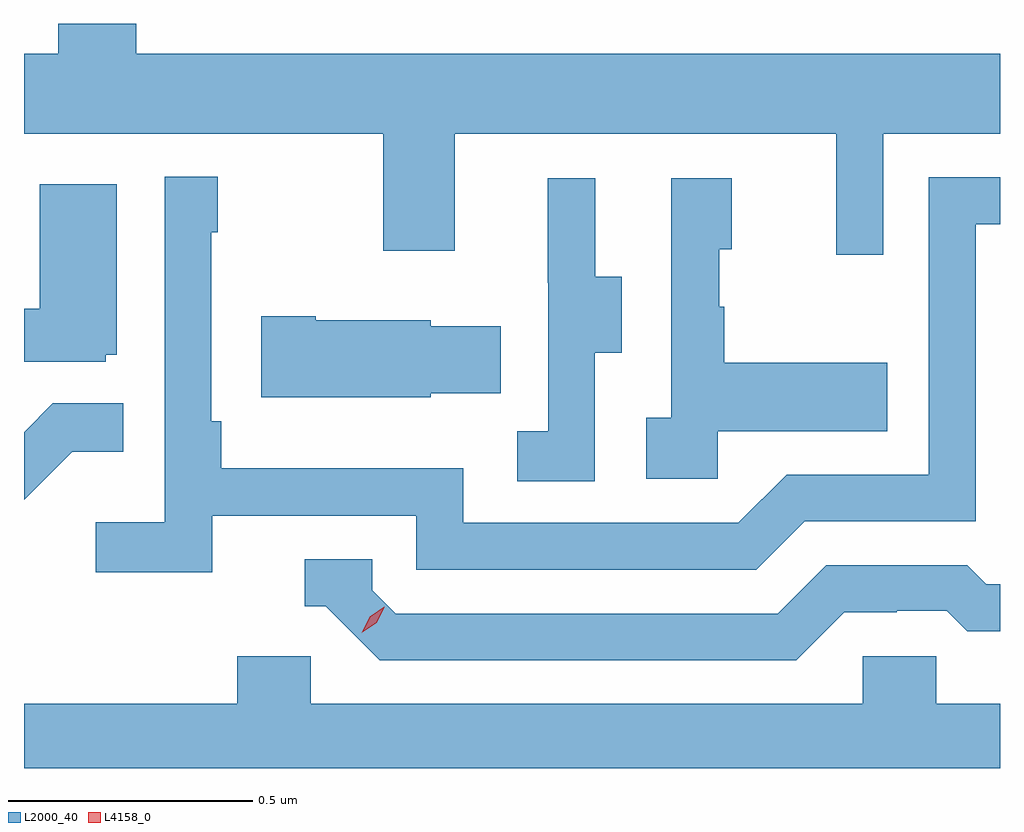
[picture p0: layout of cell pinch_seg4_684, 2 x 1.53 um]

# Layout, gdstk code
import gdstk
lib = gdstk.Library(unit=1e-6, precision=1e-09)
def P(c, l, *ps):  # polygons
    for p in ps: c.add(gdstk.Polygon(p, *l))
L2000_40 = (2000, 40)
L4158_0 = (4158, 0)

pinch_seg4_684 = lib.new_cell('pinch_seg4_684')
P(pinch_seg4_684, L2000_40, [(1117.478,750.426),(1117.318,750.426),(1117.318,750.364),(1117.248,750.364),(1117.248,750.2),(1117.984,750.2),(1117.984,749.961),(1118.131,749.961),(1118.131,750.2),(1118.912,750.2),(1118.912,749.952),(1119.009,749.952),(1119.009,750.2),(1119.248,750.2),(1119.248,750.364),(1117.478,750.364)],
  [(1117.634,749.418),(1118.052,749.418),(1118.052,749.307),(1118.749,749.307),(1118.848,749.406),(1119.198,749.406),(1119.198,750.015),(1119.248,750.015),(1119.248,750.111),(1119.102,750.111),(1119.102,749.502),(1118.811,749.502),(1118.712,749.403),(1118.148,749.403),(1118.148,749.515),(1117.652,749.515),(1117.652,749.611),(1117.632,749.611),(1117.632,749.999),(1117.645,749.999),(1117.645,750.112),(1117.536,750.112),(1117.536,749.404),(1117.395,749.404),(1117.395,749.302),(1117.634,749.302)],
  [(1118.67,749.591),(1119.017,749.591),(1119.017,749.731),(1118.683,749.731),(1118.683,749.846),(1118.673,749.846),(1118.673,749.964),(1118.698,749.964),(1118.698,750.109),(1118.574,750.109),(1118.574,749.618),(1118.523,749.618),(1118.523,749.493),(1118.67,749.493)],
  [(1118.418,749.752),(1118.473,749.752),(1118.473,749.907),(1118.419,749.907),(1118.419,750.109),(1118.321,750.109),(1118.321,749.895),(1118.322,749.895),(1118.322,749.591),(1118.259,749.591),(1118.259,749.488),(1118.418,749.488)],
  [(1117.416,749.748),(1117.438,749.748),(1117.438,750.097),(1117.28,750.097),(1117.28,749.842),(1117.248,749.842),(1117.248,749.733),(1117.416,749.733)],
  [(1118.082,749.669),(1118.225,749.669),(1118.225,749.806),(1118.082,749.806),(1118.082,749.818),(1117.846,749.818),(1117.846,749.826),(1117.734,749.826),(1117.734,749.66),(1118.082,749.66)],
  [(1117.347,749.549),(1117.451,749.549),(1117.451,749.648),(1117.307,749.648),(1117.248,749.589),(1117.248,749.45)],
  [(1118.929,749.22),(1119.036,749.22),(1119.036,749.223),(1119.139,749.223),(1119.181,749.181),(1119.248,749.181),(1119.248,749.277),(1119.22,749.277),(1119.181,749.316),(1118.892,749.316),(1118.793,749.217),(1118.01,749.217),(1117.962,749.265),(1117.962,749.328),(1117.823,749.328),(1117.823,749.232),(1117.866,749.232),(1117.977,749.121),(1118.83,749.121)],
  [(1119.248,749.032),(1119.117,749.032),(1119.117,749.13),(1118.967,749.13),(1118.967,749.032),(1117.836,749.032),(1117.836,749.13),(1117.685,749.13),(1117.685,749.032),(1117.248,749.032),(1117.248,748.9),(1119.248,748.9)])
P(pinch_seg4_684, L4158_0, [(1117.94,749.178),(1117.94,749.178),(1117.956,749.211),(1117.986,749.231),(1117.986,749.231),(1117.986,749.23),(1117.971,749.198),(1117.94,749.178)])

lib.write_gds('pinch_seg4_684.gds')
